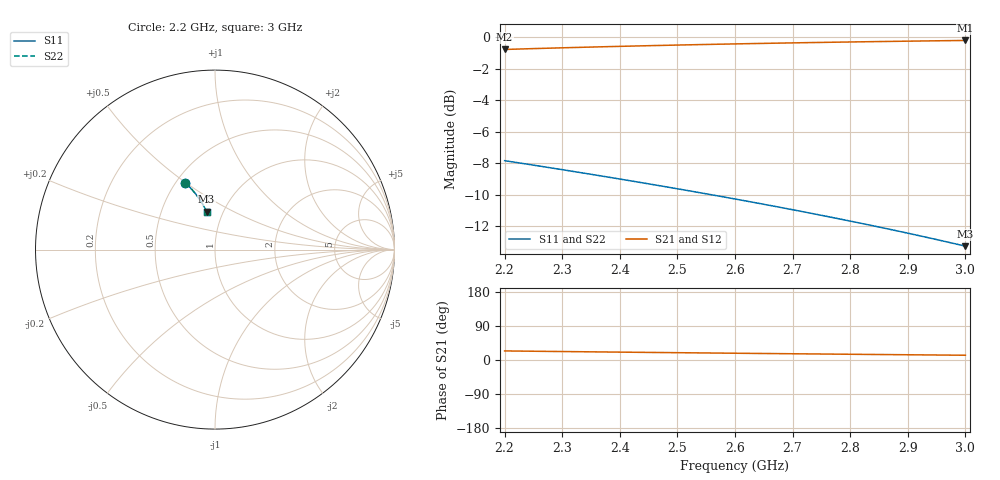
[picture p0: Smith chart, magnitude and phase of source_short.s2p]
! Created Sun Dec 02 15:50:09 2012
# hz S ma R 50
! 2 Port Network Data from SP1.SP block
! freq  magS11  angS11  magS21  angS21  magS12  angS12  magS22  angS22
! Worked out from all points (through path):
!   81 points, 2.2 GHz to 3 GHz, reference 50 ohm
!   highest |S21| = -0.21 dB at 3 GHz (marker M1); lowest = -0.8 dB at 2.2 GHz (marker M2)
!   lowest |S11| = -13.3 dB at 3 GHz (marker M3), VSWR 1.56, Z = 41.7 + j18.6 ohm
!   |S11| at or under -10 dB: 2.56 GHz to end of sweep
!   |S22| runs from -13.3 to -7.8 dB; largest |S21 - S12| = 0
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2.2e9  0.4057 113.9  0.914 23.9  0.914 23.9  0.4057 113.9
2.23e9  0.3979 113.4  0.9174 23.4  0.9174 23.4  0.3979 113.4
2.27e9  0.3876 112.8  0.9218 22.8  0.9218 22.8  0.3876 112.8
2.3e9  0.3799 112.3  0.925 22.3  0.925 22.3  0.3799 112.3
2.34e9  0.3698 111.7  0.9291 21.7  0.9291 21.7  0.3698 111.7
2.4e9  0.3548 110.8  0.9349 20.8  0.9349 20.8  0.3548 110.8
2.43e9  0.3474 110.3  0.9377 20.3  0.9377 20.3  0.3474 110.3
2.47e9  0.3377 109.7  0.9413 19.7  0.9413 19.7  0.3377 109.7
2.53e9  0.3232 108.9  0.9463 18.9  0.9463 18.9  0.3232 108.9
2.6e9  0.3067 107.9  0.9518 17.9  0.9518 17.9  0.3067 107.9
2.64e9  0.2974 107.3  0.9548 17.3  0.9548 17.3  0.2974 107.3
2.67e9  0.2904 106.9  0.9569 16.9  0.9569 16.9  0.2904 106.9
2.71e9  0.2813 106.3  0.9596 16.3  0.9596 16.3  0.2813 106.3
2.74e9  0.2745 105.9  0.9616 15.9  0.9616 15.9  0.2745 105.9
2.78e9  0.2655 105.4  0.9641 15.4  0.9641 15.4  0.2655 105.4
2.81e9  0.2588 105.0  0.9659 15.0  0.9659 15.0  0.2588 105.0
2.84e9  0.2521 104.6  0.9677 14.6  0.9677 14.6  0.2521 104.6
2.87e9  0.2455 104.2  0.9694 14.2  0.9694 14.2  0.2455 104.2
2.91e9  0.2367 103.7  0.9716 13.7  0.9716 13.7  0.2367 103.7
2.94e9  0.2302 103.3  0.9731 13.3  0.9731 13.3  0.2302 103.3
2.97e9  0.2237 102.9  0.9747 12.9  0.9747 12.9  0.2237 102.9
3e9  0.2173 102.6  0.9761 12.6  0.9761 12.6  0.2173 102.6
